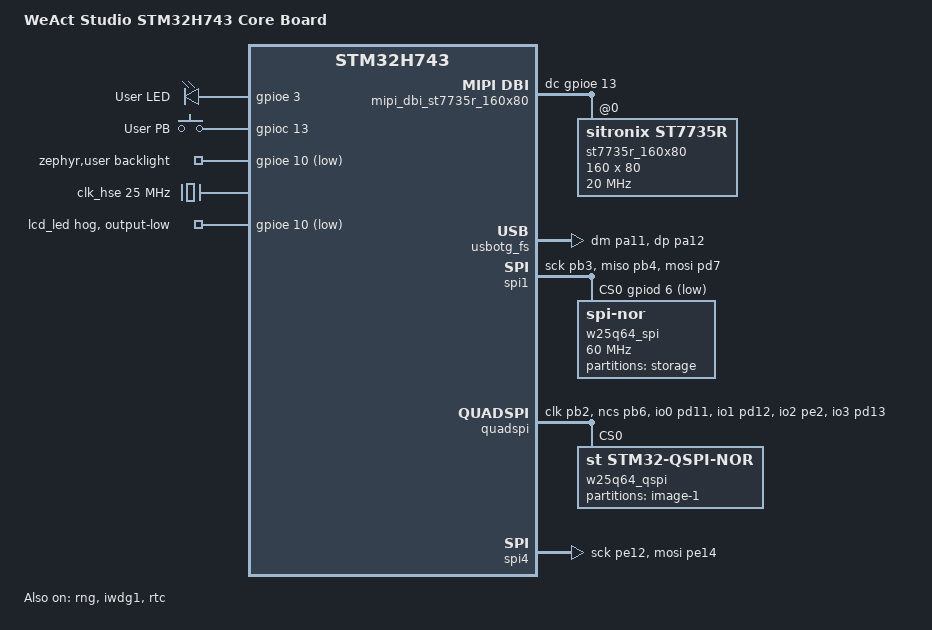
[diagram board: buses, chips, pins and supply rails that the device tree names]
/*
 * Copyright (c) 2024 Charles Dias <charlesdias.cd@outlook.com>
 * Copyright (c) 2026 GZM Embarcados
 *
 * SPDX-License-Identifier: Apache-2.0
 *
 * WeAct Studio MiniSTM32H743 core board: display, USB console and MCUboot
 * slots (primary on internal flash, secondary on the QSPI NOR).
 */

/dts-v1/;
#include <st/h7/stm32h743Xi.dtsi>
#include <st/h7/stm32h743vitx-pinctrl.dtsi>
#include <zephyr/dt-bindings/input/input-event-codes.h>
#include <zephyr/dt-bindings/mipi_dbi/mipi_dbi.h>

/ {
	model = "WeAct Studio STM32H743 Core Board";
	compatible = "weact,weact-stm32h743";

	chosen {
		zephyr,sram = &sram0;
		zephyr,flash = &flash0;
		zephyr,display = &st7735r_160x80;
		zephyr,console = &board_cdc_acm_uart;
		zephyr,shell-uart = &board_cdc_acm_uart;
		zephyr,flash-controller = &w25q64_spi;
	};

	leds {
		compatible = "gpio-leds";
		user_led: led {
			gpios = <&gpioe 3 GPIO_ACTIVE_HIGH>;
			label = "User LED";
		};
	};

	gpio_keys {
		compatible = "gpio-keys";
		user_button: button {
			label = "User PB";
			gpios = <&gpioc 13 (GPIO_ACTIVE_HIGH | GPIO_PULL_DOWN)>;
			zephyr,code = <INPUT_KEY_0>;
		};
	};

	mipi_dbi_st7735r_160x80 {
		compatible = "zephyr,mipi-dbi-spi";
		spi-dev = <&spi4>;
		dc-gpios = <&gpioe 13 GPIO_ACTIVE_HIGH>;
		#address-cells = <1>;
		#size-cells = <0>;

		st7735r_160x80: st7735r@0 {
			compatible = "sitronix,st7735r";
			mipi-max-frequency = <20000000>;
			mipi-mode = "MIPI_DBI_MODE_SPI_4WIRE";
			reg = <0>;
			width = <160>;
			height = <80>;
			inversion-on;
			rgb-is-inverted;
			x-offset = <1>;
			y-offset = <26>;
			pwctr1 = [A2 02 84];
			pwctr2 = [C5];
			pwctr3 = [0A 00];
			pwctr4 = [8A 2A];
			pwctr5 = [8A EE];
			invctr = <7>;
			frmctr1 = [01 2C 2D];
			frmctr2 = [01 2C 2D];
			frmctr3 = [01 2C 2D 01 2C 2D];
			vmctr1 = <14>;
			gamctrp1 = [02 1C 07 12 37 32 29 2D 29 25 2B 39 00 01 03 10];
			gamctrn1 = [03 1D 07 06 2E 2C 29 2D 2E 2E 37 3F 00 00 02 10];
			colmod = <5>;
			madctl = <184>; /* Rotate the image 180 degrees. */
			caset = [00 01 00 a0];
			raset = [00 1a 00 69];
		};
	};

	zephyr,user {
		backlight-gpios = <&gpioe 10 GPIO_ACTIVE_LOW>;
	};

	aliases {
		led0 = &user_led;
		sw0 = &user_button;
		watchdog0 = &iwdg;
	};
};

&clk_lsi {
	status = "okay";
};

&clk_hsi48 {
	status = "okay";
};

&clk_hse {
	clock-frequency = <DT_FREQ_M(25)>;
	status = "okay";
};

&pll {
	div-m = <5>;
	mul-n = <192>;
	div-p = <2>;
	div-q = <4>;
	div-r = <4>;
	clocks = <&clk_hse>;
	status = "okay";
};

&rcc {
	clocks = <&pll>;
	clock-frequency = <DT_FREQ_M(480)>;
	d1cpre = <1>;
	hpre = <2>;
	d1ppre = <2>;
	d2ppre1 = <2>;
	d2ppre2 = <2>;
	d3ppre = <2>;
};

&usbotg_fs {
	pinctrl-0 = <&usb_otg_fs_dm_pa11 &usb_otg_fs_dp_pa12>;
	pinctrl-names = "default";
	status = "okay";

	board_cdc_acm_uart: board_cdc_acm_uart {
		compatible = "zephyr,cdc-acm-uart";
	};
};

/*
 * Internal flash (2 MB, 128 KB sectors): MCUboot layout.
 * scratch must be >= the largest sector among the slots (128 KB here).
 */
&flash0 {
	partitions {
		compatible = "fixed-partitions";
		#address-cells = <1>;
		#size-cells = <1>;

		boot_partition: partition@0 {
			label = "mcuboot";
			reg = <0x00000000 DT_SIZE_K(128)>;
			read-only;
		};
		slot0_partition: partition@20000 {
			label = "image-0";
			reg = <0x00020000 DT_SIZE_K(896)>;
		};
		scratch_partition: partition@100000 {
			label = "image-scratch";
			reg = <0x00100000 DT_SIZE_K(256)>;
		};
	};
};

/* SPI NOR (Winbond W25Q64JV, 8 MB): general storage */
&spi1 {
	pinctrl-0 = <&spi1_sck_pb3 &spi1_miso_pb4 &spi1_mosi_pd7>;
	cs-gpios = <&gpiod 6 GPIO_ACTIVE_LOW>;
	pinctrl-names = "default";
	status = "okay";

	w25q64_spi: spi-nor-flash@0 {
		compatible = "jedec,spi-nor";
		reg = <0>;
		/* SPI1 runs from pll1_q (240 MHz) with a power-of-two divider:
		 * 60 MHz = /4. Above 50 MHz the W25Q64JV needs Fast Read (0Bh). */
		spi-max-frequency = <DT_FREQ_M(60)>;
		use-fast-read;
		size = <DT_SIZE_M(64)>; /* 64 Mbit = 8 MB */
		status = "okay";
		jedec-id = [ef 40 17];
		has-dpd;
		t-enter-dpd = <3500>;
		t-exit-dpd = <3500>;

		partitions {
			compatible = "fixed-partitions";
			#address-cells = <1>;
			#size-cells = <1>;

			storage_partition: partition@0 {
				label = "storage";
				reg = <0x00000000 DT_SIZE_M(8)>;
			};
		};
	};
};

/* QSPI NOR (Winbond W25Q64, 8 MB, 4 KB sectors): MCUboot secondary slot */
&quadspi {
	pinctrl-names = "default";
	pinctrl-0 = <&quadspi_clk_pb2 &quadspi_bk1_ncs_pb6
		&quadspi_bk1_io0_pd11 &quadspi_bk1_io1_pd12
		&quadspi_bk1_io2_pe2 &quadspi_bk1_io3_pd13>;
	flash-id = <1>;
	status = "okay";

	w25q64_qspi: qspi-nor-flash@0 {
		compatible = "st,stm32-qspi-nor";
		reg = <0>;
		size = <DT_SIZE_M(64)>; /* 64 Mbit = 8 MB */
		qspi-max-frequency = <DT_FREQ_M(100)>;
		status = "okay";
		spi-bus-width = <4>;
		writeoc = "PP_1_1_4";
		reset-cmd;

		partitions {
			compatible = "fixed-partitions";
			#address-cells = <1>;
			#size-cells = <1>;

			/* Must match slot0_partition size */
			slot1_partition: partition@0 {
				label = "image-1";
				reg = <0x00000000 DT_SIZE_K(896)>;
			};
		};
	};
};

&gpioe {
	status = "okay";

	/* LCD backlight (PE10, active low) starts OFF (also in MCUboot, which
	 * shares this DTS), so the uninitialized panel RAM is never shown.
	 * The application turns it on after the first frame is drawn. */
	lcd_led {
		gpio-hog;
		gpios = <10 GPIO_ACTIVE_LOW>;
		output-low;
	};
};

&spi4 {
	pinctrl-0 = <&spi4_sck_pe12 &spi4_mosi_pe14>;
	cs-gpios = <&gpioe 11 GPIO_ACTIVE_LOW>;
	pinctrl-names = "default";
	status = "okay";
};

&rng {
	status = "okay";
};

&iwdg1 {
	status = "okay";
};

&rtc {
	clocks = <&rcc STM32_CLOCK_BUS_APB4 0x00010000>,
	<&rcc STM32_SRC_LSI RTC_SEL(2)>;
	status = "okay";
};

/* Zephyr v4.4 requires an explicit Vcore supply on the STM32H7 PWR node.
 * The WeAct MiniSTM32H743 runs Vcore from the internal LDO. */
&pwr {
	power-supply = "ldo";
};
